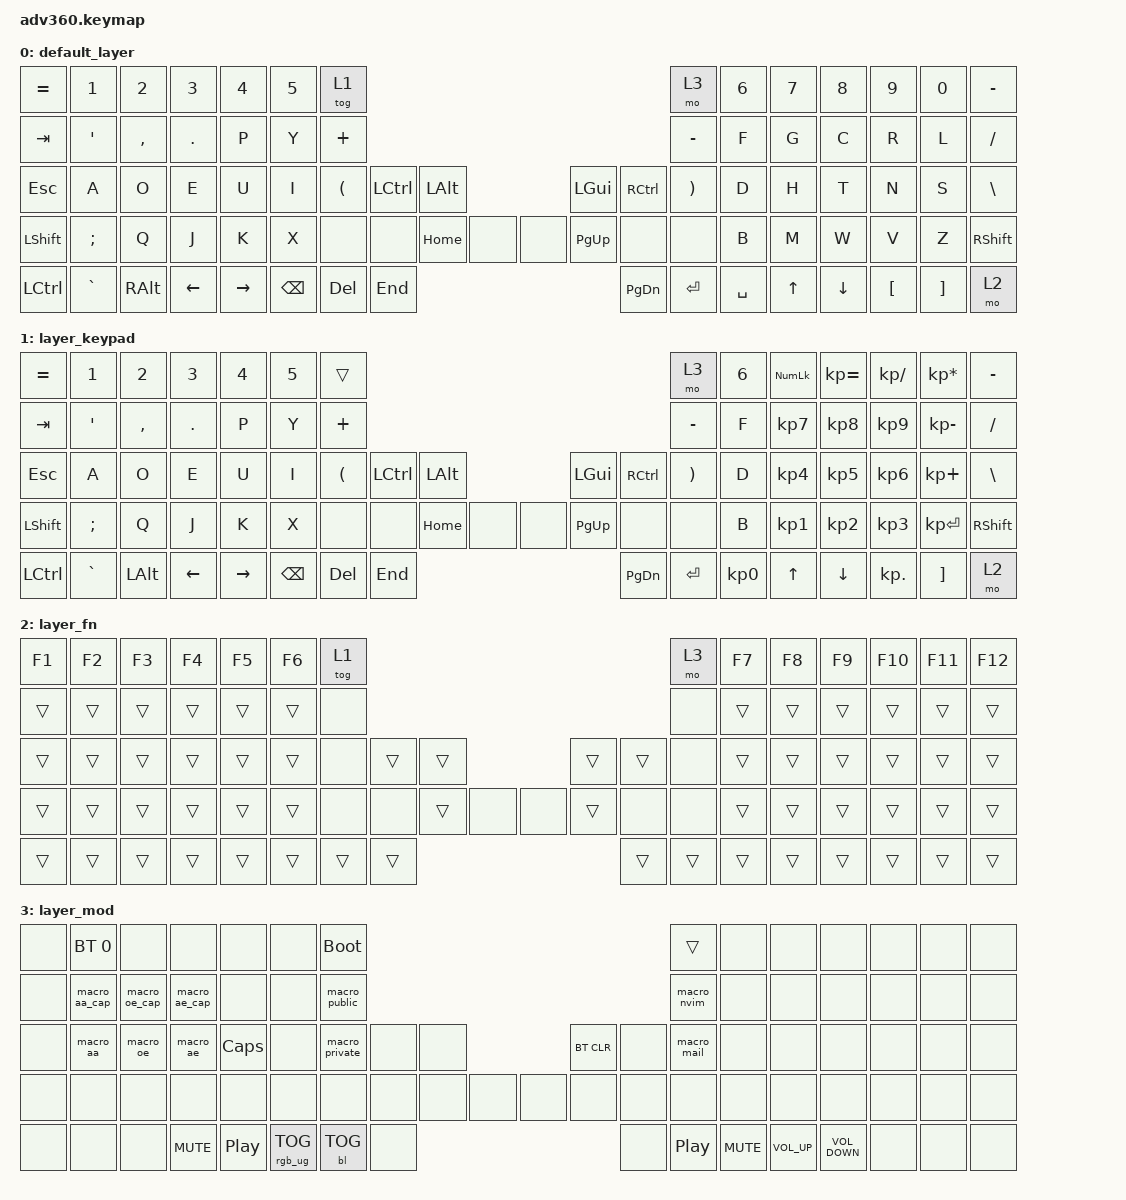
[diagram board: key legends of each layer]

/*
 * Copyright (c) 2020 The ZMK Contributors
 *
 * SPDX-License-Identifier: MIT
 */


/* THIS FILE WAS GENERATED!
 *
 * This file was generated automatically. You may or may not want to
 * edit it directly.
 */

#include <behaviors.dtsi>
#include <dt-bindings/zmk/keys.h>
#include <dt-bindings/zmk/bt.h>
#include <dt-bindings/zmk/rgb.h>
#include <dt-bindings/zmk/backlight.h>

/ {
  behaviors {
    #include "macros.dtsi"
    #include "version.dtsi"

    hm: homerow_mods {
        compatible = "zmk,behavior-hold-tap";
        label = "HOMEROW_MODS";
        #binding-cells = <2>;
        tapping-term-ms = <200>;
        quick_tap_ms = <175>;
        flavor = "tap-preferred";
        bindings = <&kp>, <&kp>;
    };
  };

    keymap {
        compatible = "zmk,keymap";


        default_layer {
            bindings = <
 &kp EQUAL     &kp N1     &kp N2    &kp N3     &kp N4  &kp N5                          &tog 1                                                                             &mo 3  &kp N6  &kp N7    &kp N8    &kp N9    &kp N0  &kp MINUS
   &kp TAB    &kp SQT  &kp COMMA   &kp DOT      &kp P   &kp Y                        &kp PLUS                                                                         &kp MINUS   &kp F   &kp G     &kp C     &kp R     &kp L  &kp SLASH
   &kp ESC      &kp A      &kp O     &kp E      &kp U   &kp I            &kp LEFT_PARENTHESIS  &kp LCTRL  &kp LALT                   &kp LGUI  &kp RCTRL  &kp RIGHT_PARENTHESIS   &kp D   &kp H     &kp T     &kp N     &kp S   &kp BSLH
 &kp LSHFT   &kp SEMI      &kp Q     &kp J      &kp K   &kp X                           &none      &none  &kp HOME   &none   &none  &kp PG_UP      &none                  &none   &kp B   &kp M     &kp W     &kp V     &kp Z  &kp RSHFT
 &kp LCTRL  &kp GRAVE   &kp RALT  &kp LEFT  &kp RIGHT                                &kp BSPC    &kp DEL   &kp END                  &kp PG_DN  &kp ENTER              &kp SPACE          &kp UP  &kp DOWN  &kp LBKT  &kp RBKT      &mo 2
            >;
        };

        layer_keypad {
            bindings = <
 &kp EQUAL          &kp N1     &kp N2    &kp N3     &kp N4  &kp N5                          &trans                                                                             &mo 3  &kp N6  &kp KP_NUM  &kp KP_EQUAL  &kp KP_DIVIDE  &kp KP_MULTIPLY  &kp MINUS
   &kp TAB  &kp APOSTROPHE  &kp COMMA   &kp DOT      &kp P   &kp Y                        &kp PLUS                                                                         &kp MINUS   &kp F   &kp KP_N7     &kp KP_N8      &kp KP_N9     &kp KP_MINUS  &kp SLASH
   &kp ESC           &kp A      &kp O     &kp E      &kp U   &kp I            &kp LEFT_PARENTHESIS  &kp LCTRL  &kp LALT                   &kp LGUI  &kp RCTRL  &kp RIGHT_PARENTHESIS   &kp D   &kp KP_N4     &kp KP_N5      &kp KP_N6      &kp KP_PLUS   &kp BSLH
 &kp LSHFT        &kp SEMI      &kp Q     &kp J      &kp K   &kp X                           &none      &none  &kp HOME   &none   &none  &kp PG_UP      &none                  &none   &kp B   &kp KP_N1     &kp KP_N2      &kp KP_N3     &kp KP_ENTER  &kp RSHFT
 &kp LCTRL       &kp GRAVE   &kp LALT  &kp LEFT  &kp RIGHT                                &kp BSPC    &kp DEL   &kp END                  &kp PG_DN  &kp ENTER              &kp KP_N0              &kp UP      &kp DOWN     &kp KP_DOT         &kp RBKT      &mo 2
            >;
        };

        layer_fn {
            bindings = <
 &kp F1  &kp F2  &kp F3  &kp F4  &kp F5  &kp F6            &tog 1                                                   &mo 3  &kp F7  &kp F8  &kp F9  &kp F10  &kp F11  &kp F12
 &trans  &trans  &trans  &trans  &trans  &trans             &none                                                   &none  &trans  &trans  &trans   &trans   &trans   &trans
 &trans  &trans  &trans  &trans  &trans  &trans             &none  &trans  &trans                  &trans  &trans   &none  &trans  &trans  &trans   &trans   &trans   &trans
 &trans  &trans  &trans  &trans  &trans  &trans             &none   &none  &trans   &none   &none  &trans   &none   &none  &trans  &trans  &trans   &trans   &trans   &trans
 &trans  &trans  &trans  &trans  &trans                    &trans  &trans  &trans                  &trans  &trans  &trans          &trans  &trans   &trans   &trans   &trans
            >;
        };

        layer_mod {
            bindings = <
  &none   &bt BT_SEL 0          &none          &none         &none   &none                &bootloader                                                                         &trans   &none            &none              &none   &none   &none   &none
  &none  &macro_aa_cap  &macro_oe_cap  &macro_ae_cap         &none   &none              &macro_public                                                                    &macro_nvim   &none            &none              &none   &none   &none   &none
  &none      &macro_aa      &macro_oe      &macro_ae  &kp CAPSLOCK   &none             &macro_private       &none   &none                  &bt BT_CLR             &none  &macro_mail   &none            &none              &none   &none   &none   &none
  &none          &none          &none          &none         &none   &none                      &none       &none   &none   &none   &none       &none             &none        &none   &none            &none              &none   &none   &none   &none
  &none          &none          &none     &kp C_MUTE      &kp C_PP                    &rgb_ug RGB_TOG  &bl BL_TOG   &none                       &none  &kp C_PLAY_PAUSE   &kp C_MUTE          &kp C_VOLUME_UP  &kp C_VOLUME_DOWN   &none   &none   &none
            >;
        };

    };
};
